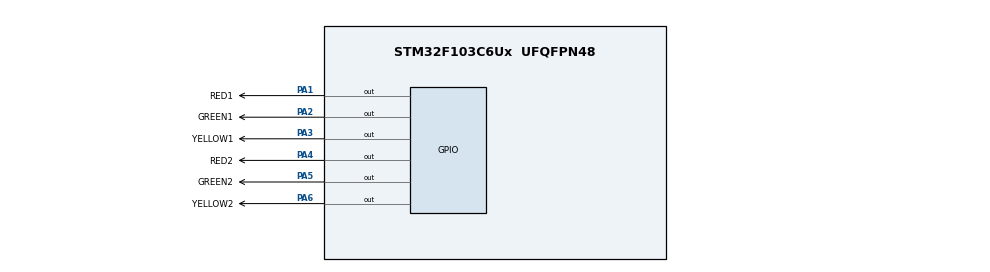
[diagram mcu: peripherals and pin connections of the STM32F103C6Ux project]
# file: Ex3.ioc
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Mcu.Family=STM32F1
Mcu.Name=STM32F103C6Ux
Mcu.Package=UFQFPN48
NVIC.PriorityGroup=NVIC_PRIORITYGROUP_4
PA1.GPIO_Label=RED1
PA1.Signal=GPIO_Output
PA2.GPIO_Label=GREEN1
PA2.Signal=GPIO_Output
PA3.GPIO_Label=YELLOW1
PA3.Signal=GPIO_Output
PA4.GPIO_Label=RED2
PA4.Signal=GPIO_Output
PA5.GPIO_Label=GREEN2
PA5.Signal=GPIO_Output
PA6.GPIO_Label=YELLOW2
PA6.Signal=GPIO_Output
ProjectManager.HeapSize=0x200
ProjectManager.StackSize=0x400
ProjectManager.TargetToolchain=STM32CubeIDE
RCC.APB1Freq_Value=8000000
RCC.APB2Freq_Value=8000000
VP_SYS_VS_ND.Mode=No_Debug
board=custom

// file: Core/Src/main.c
/* USER CODE BEGIN Header */
/**
  ******************************************************************************
  * @file           : main.c
  * @brief          : Main program body
  ******************************************************************************
  * @attention
  *
  * <h2><center>&copy; Copyright (c) 2023 STMicroelectronics.
  * All rights reserved.</center></h2>
  *
  * This software component is licensed by ST under BSD 3-Clause license,
  * the "License"; You may not use this file except in compliance with the
  * License. You may obtain a copy of the License at:
  *                        opensource.org/licenses/BSD-3-Clause
  *
  ******************************************************************************
  */
/* USER CODE END Header */
#include "main.h"

/* USER CODE BEGIN PV */
int counter0 = 10;
/* USER CODE END PV */

void SystemClock_Config(void);
static void MX_GPIO_Init(void);

int main(void)
{

  /* MCU Configuration--------------------------------------------------------*/

  /* Reset of all peripherals, Initializes the Flash interface and the Systick. */
  HAL_Init();

  /* Configure the system clock */
  SystemClock_Config();

  /* Initialize all configured peripherals */
  MX_GPIO_Init();

  /* Infinite loop */
  /* USER CODE BEGIN WHILE */
  while (1)
  {
	  if (counter0 >5) { // cai dat cho den 1 mau do va den 2 se lan luot hien mau xanh va vang
			  HAL_GPIO_WritePin(RED1_GPIO_Port, RED1_Pin, GPIO_PIN_SET);
			  HAL_GPIO_WritePin(YELLOW1_GPIO_Port, YELLOW1_Pin, GPIO_PIN_RESET);
			  HAL_GPIO_WritePin(GREEN1_GPIO_Port, GREEN1_Pin, GPIO_PIN_RESET);
			  if (counter0 >7) {
				  HAL_GPIO_WritePin(RED2_GPIO_Port, RED2_Pin, GPIO_PIN_RESET);
				  HAL_GPIO_WritePin(YELLOW2_GPIO_Port, YELLOW2_Pin, GPIO_PIN_RESET);
				  HAL_GPIO_WritePin(GREEN2_GPIO_Port, GREEN2_Pin, GPIO_PIN_SET);
			  } else {
				  HAL_GPIO_WritePin(RED2_GPIO_Port, RED2_Pin, GPIO_PIN_RESET);
				  HAL_GPIO_WritePin(YELLOW2_GPIO_Port, YELLOW2_Pin, GPIO_PIN_SET);
				  HAL_GPIO_WritePin(GREEN2_GPIO_Port, GREEN2_Pin, GPIO_PIN_RESET);
			  }
	  } else {  	// sau khi den 1 het mau do thi den 2 se mau do va den 1 se hien lan luot xanh va vang
			  HAL_GPIO_WritePin(RED2_GPIO_Port, RED2_Pin, GPIO_PIN_SET);
			  HAL_GPIO_WritePin(YELLOW2_GPIO_Port, YELLOW2_Pin, GPIO_PIN_RESET);
			  HAL_GPIO_WritePin(GREEN2_GPIO_Port, GREEN2_Pin, GPIO_PIN_RESET);
			  if (counter0 >2) {
				  HAL_GPIO_WritePin(RED1_GPIO_Port, RED1_Pin, GPIO_PIN_RESET);
				  HAL_GPIO_WritePin(YELLOW1_GPIO_Port, YELLOW1_Pin, GPIO_PIN_RESET);
				  HAL_GPIO_WritePin(GREEN1_GPIO_Port, GREEN1_Pin, GPIO_PIN_SET);
			  } else {
				  HAL_GPIO_WritePin(RED1_GPIO_Port, RED1_Pin, GPIO_PIN_RESET);
				  HAL_GPIO_WritePin(YELLOW1_GPIO_Port, YELLOW1_Pin, GPIO_PIN_SET);
				  HAL_GPIO_WritePin(GREEN1_GPIO_Port, GREEN1_Pin, GPIO_PIN_RESET);
			  }
		  }
	  counter0--;
	  if (counter0 == 0) counter0 = 10;
	  HAL_Delay(1000);
    /* USER CODE END WHILE */

  }
}

void SystemClock_Config(void)
{
  RCC_OscInitTypeDef RCC_OscInitStruct = {0};
  RCC_ClkInitTypeDef RCC_ClkInitStruct = {0};

  /** Initializes the RCC Oscillators according to the specified parameters
  * in the RCC_OscInitTypeDef structure.
  */
  RCC_OscInitStruct.OscillatorType = RCC_OSCILLATORTYPE_HSI;
  RCC_OscInitStruct.HSIState = RCC_HSI_ON;
  RCC_OscInitStruct.HSICalibrationValue = RCC_HSICALIBRATION_DEFAULT;
  RCC_OscInitStruct.PLL.PLLState = RCC_PLL_NONE;
  if (HAL_RCC_OscConfig(&RCC_OscInitStruct) != HAL_OK)
  {
    Error_Handler();
  }
  /** Initializes the CPU, AHB and APB buses clocks
  */
  RCC_ClkInitStruct.ClockType = RCC_CLOCKTYPE_HCLK|RCC_CLOCKTYPE_SYSCLK
                              |RCC_CLOCKTYPE_PCLK1|RCC_CLOCKTYPE_PCLK2;
  RCC_ClkInitStruct.SYSCLKSource = RCC_SYSCLKSOURCE_HSI;
  RCC_ClkInitStruct.AHBCLKDivider = RCC_SYSCLK_DIV1;
  RCC_ClkInitStruct.APB1CLKDivider = RCC_HCLK_DIV1;
  RCC_ClkInitStruct.APB2CLKDivider = RCC_HCLK_DIV1;

  if (HAL_RCC_ClockConfig(&RCC_ClkInitStruct, FLASH_LATENCY_0) != HAL_OK)
  {
    Error_Handler();
  }
}

static void MX_GPIO_Init(void)
{
  GPIO_InitTypeDef GPIO_InitStruct = {0};

  /* GPIO Ports Clock Enable */
  __HAL_RCC_GPIOA_CLK_ENABLE();

  /*Configure GPIO pin Output Level */
  HAL_GPIO_WritePin(GPIOA, RED1_Pin|GREEN1_Pin|YELLOW1_Pin|RED2_Pin
                          |GREEN2_Pin|YELLOW2_Pin, GPIO_PIN_RESET);

  /*Configure GPIO pins : RED1_Pin GREEN1_Pin YELLOW1_Pin RED2_Pin
                           GREEN2_Pin YELLOW2_Pin */
  GPIO_InitStruct.Pin = RED1_Pin|GREEN1_Pin|YELLOW1_Pin|RED2_Pin
                          |GREEN2_Pin|YELLOW2_Pin;
  GPIO_InitStruct.Mode = GPIO_MODE_OUTPUT_PP;
  GPIO_InitStruct.Pull = GPIO_NOPULL;
  GPIO_InitStruct.Speed = GPIO_SPEED_FREQ_LOW;
  HAL_GPIO_Init(GPIOA, &GPIO_InitStruct);

}

void Error_Handler(void)
{
  __disable_irq();
  while (1)
  {
  }
}

/************************ (C) COPYRIGHT STMicroelectronics *****END OF FILE****/
